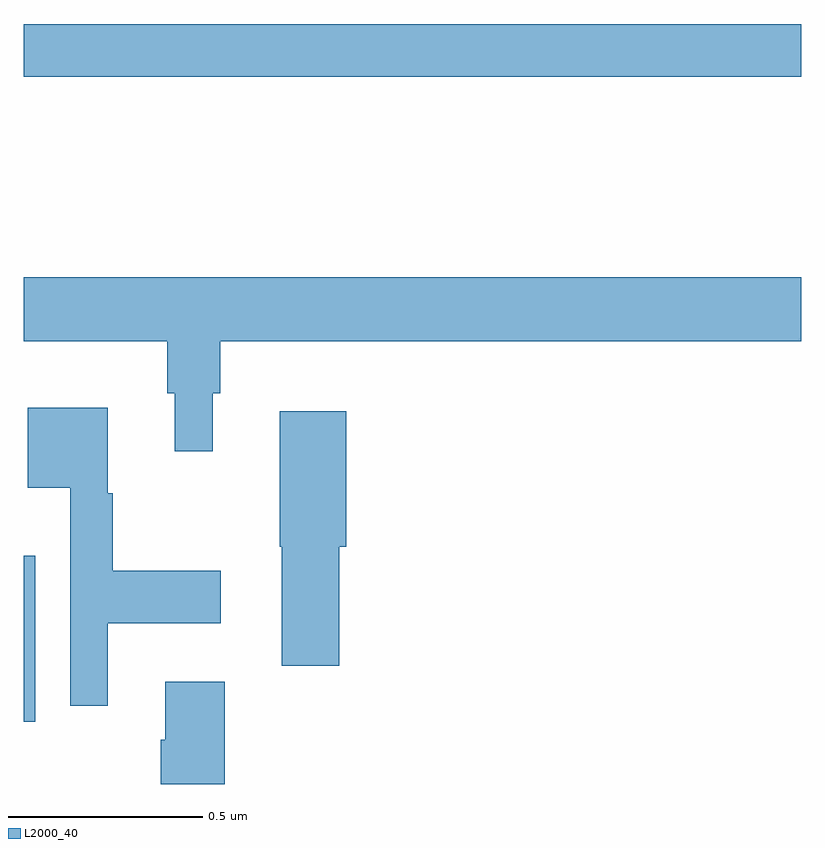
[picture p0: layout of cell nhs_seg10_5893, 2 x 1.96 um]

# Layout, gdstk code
import gdstk
lib = gdstk.Library(unit=1e-6, precision=1e-09)
def R(c, l, rs):  # rectangles x0, y0, x1, y1
    for r in rs: c.add(gdstk.rectangle(r[:2], r[2:], *l))
def P(c, l, *ps):  # polygons
    for p in ps: c.add(gdstk.Polygon(p, *l))
L2000_40 = (2000, 40)

nhs_seg10_5893 = lib.new_cell('nhs_seg10_5893')
R(nhs_seg10_5893, L2000_40, [(184,1308.66,184.029,1309.087), (184,1310.32,186,1310.456)])
P(nhs_seg10_5893, L2000_40, [(184.486,1309.506),(184.505,1309.506),(184.505,1309.64),(186,1309.64),(186,1309.804),(184,1309.804),(184,1309.64),(184.369,1309.64),(184.369,1309.506),(184.388,1309.506),(184.388,1309.356),(184.486,1309.356)],
  [(184.216,1308.914),(184.507,1308.914),(184.507,1309.049),(184.228,1309.049),(184.228,1309.248),(184.216,1309.248),(184.216,1309.468),(184.01,1309.468),(184.01,1309.262),(184.119,1309.262),(184.119,1308.702),(184.216,1308.702)],
  [(184.811,1309.11),(184.829,1309.11),(184.829,1309.459),(184.658,1309.459),(184.658,1309.11),(184.664,1309.11),(184.664,1308.804),(184.811,1308.804)],
  [(184.517,1308.763),(184.364,1308.763),(184.364,1308.614),(184.352,1308.614),(184.352,1308.5),(184.517,1308.5)])

lib.write_gds('nhs_seg10_5893.gds')
